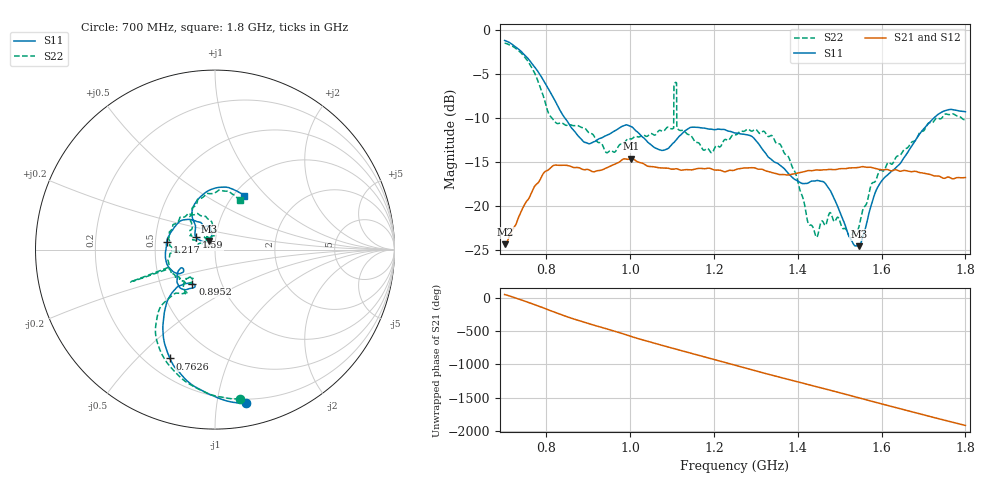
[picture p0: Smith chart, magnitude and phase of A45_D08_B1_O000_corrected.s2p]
! Created with skrf 1.9.0 (http://scikit-rf.org).
# Hz S RI R 50.0
!freq ReS11 ImS11 ReS21 ImS21 ReS12 ImS12 ReS22 ImS22
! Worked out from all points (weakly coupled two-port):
!   1601 points, 700 MHz to 1.8 GHz, reference 50 ohm
!   highest |S21| = -14.62 dB at 1.002 GHz (marker M1); lowest = -24.4 dB at 701.4 MHz (marker M2)
!   lowest |S11| = -24.6 dB at 1.546 GHz (marker M3), VSWR 1.12, Z = 46.5 + j4.49 ohm
!   |S11| at or under -10 dB: 843.7 MHz to 1.725 GHz (881.3 MHz wide, 68.6 % of centre)
!   |S22| runs from -23.6 to -1.5 dB; largest |S21 - S12| = 0.0035
!   S11 on the Smith chart (normalised r, x): 700 MHz: 0.17, -1.21; 762.6 MHz: 0.29, -0.63; 895.2 MHz: 0.73, -0.29; 1.217 GHz: 0.58, +0.06; 1.59 GHz: 0.80, +0.11; 1.8 GHz: 1.12, +0.76
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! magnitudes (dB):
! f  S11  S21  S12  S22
! 700 MHz  -1.2  -24.4  -24.2  -1.5
! 701.4 MHz  -1.2  -24.4  -24.0  -1.5
! 762.6 MHz  -3.7  -18.7  -18.7  -4.1
! 812.8 MHz  -7.4  -15.5  -15.5  -10.0
! 883.6 MHz  -12.4  -15.8  -15.7  -11.1
! 895.2 MHz  -12.8  -15.9  -16.0  -11.3
! 944.8 MHz  -12.0  -15.7  -15.7  -14.0
! 1.002 GHz  -11.0  -14.6  -14.7  -12.4
! 1.067 GHz  -13.6  -15.7  -15.6  -11.5
! 1.098 GHz  -13.1  -15.8  -15.8  -11.2
! 1.108 GHz  -12.6  -15.8  -15.8  -6.0
! 1.117 GHz  -12.1  -15.9  -15.9  -11.4
! 1.217 GHz  -11.3  -16.0  -16.0  -13.2
! 1.25 GHz  -11.7  -15.9  -15.9  -11.9
! 1.358 GHz  -15.4  -16.5  -16.4  -13.0
! 1.434 GHz  -17.2  -16.0  -16.0  -22.3
! 1.471 GHz  -17.8  -15.9  -15.9  -21.6
! 1.546 GHz  -24.6  -15.6  -15.6  -22.4
! 1.59 GHz  -17.9  -15.8  -15.8  -16.5
! 1.617 GHz  -16.4  -15.9  -15.9  -15.1
! 1.732 GHz  -9.7  -16.6  -16.6  -10.0
! 1.8 GHz  -9.3  -16.8  -16.8  -10.2
